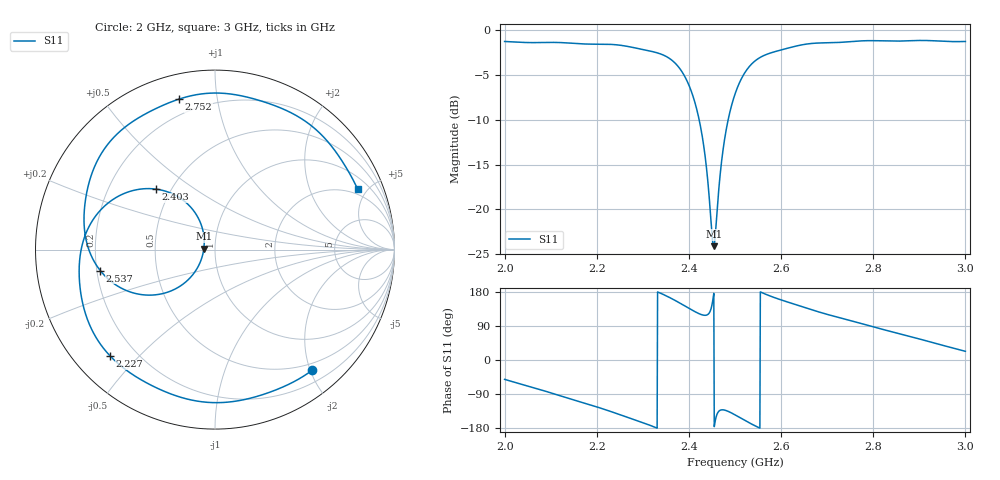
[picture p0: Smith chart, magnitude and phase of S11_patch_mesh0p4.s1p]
! openEMS
# GHZ S MA R 50
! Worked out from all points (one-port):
!   1001 points, 2 GHz to 3 GHz, reference 50 ohm
!   lowest |S11| = -24.1 dB at 2.454 GHz (marker M1), VSWR 1.13, Z = 44.1 + j0.412 ohm
!   |S11| at or under -10 dB: 2.422 GHz to 2.485 GHz (62.94 MHz wide, 2.57 % of centre)
!   S11 on the Smith chart (normalised r, x): 2 GHz: 0.39, -2.03; 2.227 GHz: 0.11, -0.42; 2.403 GHz: 0.41, +0.36; 2.537 GHz: 0.21, -0.09; 2.752 GHz: 0.12, +0.78; 3 GHz: 1.65, +4.34
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2  0.8631 -51.1
2.07  0.8508 -75.7
2.125  0.8503 -96.0
2.18  0.8347 -116.3
2.227  0.8323 -134.5
2.25  0.823 -144.2
2.325  0.7535 -176.8
2.351  0.7115 169.1
2.375  0.6335 153.9
2.403  0.4714 134.4
2.43  0.2457 118.7
2.439  0.1622 118.8
2.45  0.0731 145.1
2.454  0.06246 175.7
2.458  0.07639 -155.3
2.468  0.1585 -132.5
2.476  0.233 -131.8
2.5  0.4392 -144.7
2.537  0.6498 -169.6
2.572  0.737 170.9
2.625  0.805 148.7
2.683  0.8467 126.4
2.75  0.8611 104.2
2.752  0.8619 103.6
2.805  0.8718 85.8
2.875  0.8705 63.8
2.936  0.8697 43.5
3  0.8631 22.9
